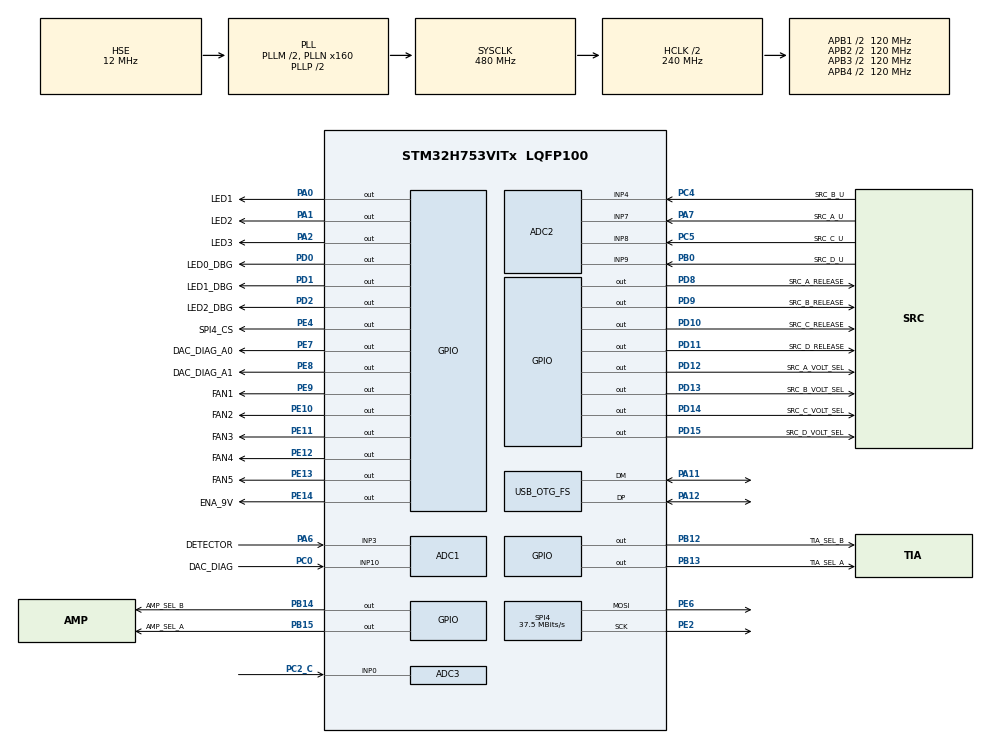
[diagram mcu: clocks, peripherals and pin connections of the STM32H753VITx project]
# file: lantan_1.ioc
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ADC1.Channel-0\#ChannelRegularConversion=ADC_CHANNEL_10
ADC1.ConversionDataManagement=ADC_CONVERSIONDATA_DMA_ONESHOT
ADC1.EOCSelection=ADC_EOC_SEQ_CONV
ADC1.ExternalTrigConv=ADC_EXTERNALTRIG_T6_TRGO
ADC1.NbrOfConversionFlag=1
ADC1.OffsetNumber-0\#ChannelRegularConversion=ADC_OFFSET_NONE
ADC1.OffsetSignedSaturation-0\#ChannelRegularConversion=DISABLE
ADC1.Rank-0\#ChannelRegularConversion=1
ADC1.SamplingTime-0\#ChannelRegularConversion=ADC_SAMPLETIME_1CYCLE_5
ADC1.master=1
ADC2.Channel-0\#ChannelRegularConversion=ADC_CHANNEL_7
ADC2.NbrOfConversionFlag=1
ADC2.OffsetNumber-0\#ChannelRegularConversion=ADC_OFFSET_NONE
ADC2.OffsetSignedSaturation-0\#ChannelRegularConversion=DISABLE
ADC2.Rank-0\#ChannelRegularConversion=1
ADC2.SamplingTime-0\#ChannelRegularConversion=ADC_SAMPLETIME_1CYCLE_5
ADC3.Channel-0\#ChannelRegularConversion=ADC_CHANNEL_0
ADC3.NbrOfConversionFlag=1
ADC3.OffsetNumber-0\#ChannelRegularConversion=ADC_OFFSET_NONE
ADC3.OffsetSignedSaturation-0\#ChannelRegularConversion=DISABLE
ADC3.Rank-0\#ChannelRegularConversion=1
ADC3.SamplingTime-0\#ChannelRegularConversion=ADC_SAMPLETIME_1CYCLE_5
CORTEX_M7.CPU_DCache=Enabled
CORTEX_M7.CPU_ICache=Enabled
CORTEX_M7.MPU_Control=__NULL
CORTEX_M7.default_mode_Activation=1
Dma.ADC1.0.Direction=DMA_PERIPH_TO_MEMORY
Dma.ADC1.0.EventEnable=DISABLE
Dma.ADC1.0.FIFOMode=DMA_FIFOMODE_DISABLE
Dma.ADC1.0.Instance=DMA1_Stream0
Dma.ADC1.0.MemDataAlignment=DMA_MDATAALIGN_WORD
Dma.ADC1.0.MemInc=DMA_MINC_ENABLE
Dma.ADC1.0.Mode=DMA_NORMAL
Dma.ADC1.0.PeriphDataAlignment=DMA_PDATAALIGN_WORD
Dma.ADC1.0.PeriphInc=DMA_PINC_DISABLE
Dma.ADC1.0.Polarity=HAL_DMAMUX_REQ_GEN_RISING
Dma.ADC1.0.Priority=DMA_PRIORITY_LOW
Dma.ADC1.0.RequestNumber=1
Dma.ADC1.0.SignalID=NONE
Dma.ADC1.0.SyncEnable=DISABLE
Dma.ADC1.0.SyncPolarity=HAL_DMAMUX_SYNC_NO_EVENT
Dma.ADC1.0.SyncRequestNumber=1
Dma.ADC1.0.SyncSignalID=NONE
Dma.Request0=ADC1
FREERTOS.Tasks01=defaultTask,24,1024,StartDefaultTask,Default,NULL,Dynamic,NULL,NULL
FREERTOS.configENABLE_FPU=1
FREERTOS.configMAX_TASK_NAME_LEN=32
FREERTOS.configMINIMAL_STACK_SIZE=1024
FREERTOS.configTOTAL_HEAP_SIZE=200000
Mcu.Family=STM32H7
Mcu.Name=STM32H753VITx
Mcu.Package=LQFP100
NVIC.ADC_IRQn=true\:6\:0\:true\:false\:true\:true\:true\:true\:true
NVIC.DMA1_Stream0_IRQn=true\:6\:0\:true\:false\:true\:true\:false\:true\:true
NVIC.OTG_FS_IRQn=true\:6\:0\:true\:false\:true\:true\:false\:true\:true
NVIC.PriorityGroup=NVIC_PRIORITYGROUP_4
NVIC.SPI4_IRQn=true\:6\:0\:true\:false\:true\:true\:true\:true\:true
NVIC.TIM1_UP_IRQn=true\:15\:0\:false\:false\:true\:false\:false\:true\:true
NVIC.TIM6_DAC_IRQn=true\:5\:0\:false\:false\:true\:true\:true\:true\:true
NVIC.TIM7_IRQn=true\:5\:0\:false\:false\:true\:true\:true\:true\:true
NVIC.TimeBase=TIM1_UP_IRQn
NVIC.TimeBaseIP=TIM1
PA0.GPIO_Label=LED1
PA0.Signal=GPIO_Output
PA1.GPIO_Label=LED2
PA1.Signal=GPIO_Output
PA11.Mode=Device_Only
PA11.Signal=USB_OTG_FS_DM
PA12.Mode=Device_Only
PA12.Signal=USB_OTG_FS_DP
PA13\ (JTMS/SWDIO).Mode=Trace_Asynchronous_SW
PA13\ (JTMS/SWDIO).Signal=DEBUG_JTMS-SWDIO
PA14\ (JTCK/SWCLK).Mode=Trace_Asynchronous_SW
PA14\ (JTCK/SWCLK).Signal=DEBUG_JTCK-SWCLK
PA2.GPIO_Label=LED3
PA2.Signal=GPIO_Output
PA6.GPIO_Label=DETECTOR
PA6.Signal=ADCx_INP3
PA7.GPIO_Label=SRC_A_U
PA7.Signal=ADCx_INP7
PB0.GPIO_Label=SRC_D_U
PB0.Signal=ADCx_INP9
PB12.GPIO_Label=TIA_SEL_B
PB12.Signal=GPIO_Output
PB13.GPIO_Label=TIA_SEL_A
PB13.Signal=GPIO_Output
PB14.GPIO_Label=AMP_SEL_B
PB14.Signal=GPIO_Output
PB15.GPIO_Label=AMP_SEL_A
PB15.Signal=GPIO_Output
PB3\ (JTDO/TRACESWO).Mode=Trace_Asynchronous_SW
PB3\ (JTDO/TRACESWO).Signal=DEBUG_JTDO-SWO
PC0.GPIO_Label=DAC_DIAG
PC0.Signal=ADCx_INP10
PC2_C.Mode=IN0-Single-Ended
PC2_C.Signal=ADC3_INP0
PC4.GPIO_Label=SRC_B_U
PC4.Signal=ADCx_INP4
PC5.GPIO_Label=SRC_C_U
PC5.Signal=ADCx_INP8
PD0.GPIO_Label=LED0_DBG
PD0.Signal=GPIO_Output
PD1.GPIO_Label=LED1_DBG
PD1.Signal=GPIO_Output
PD10.GPIO_Label=SRC_C_RELEASE
PD10.Signal=GPIO_Output
PD11.GPIO_Label=SRC_D_RELEASE
PD11.Signal=GPIO_Output
PD12.GPIO_Label=SRC_A_VOLT_SEL
PD12.Signal=GPIO_Output
PD13.GPIO_Label=SRC_B_VOLT_SEL
PD13.Signal=GPIO_Output
PD14.GPIO_Label=SRC_C_VOLT_SEL
PD14.Signal=GPIO_Output
PD15.GPIO_Label=SRC_D_VOLT_SEL
PD15.Signal=GPIO_Output
PD2.GPIO_Label=LED2_DBG
PD2.Signal=GPIO_Output
PD8.GPIO_Label=SRC_A_RELEASE
PD8.Signal=GPIO_Output
PD9.GPIO_Label=SRC_B_RELEASE
PD9.Signal=GPIO_Output
PE10.GPIO_Label=FAN2
PE10.Signal=GPIO_Output
PE11.GPIO_Label=FAN3
PE11.Signal=GPIO_Output
PE12.GPIO_Label=FAN4
PE12.Signal=GPIO_Output
PE13.GPIO_Label=FAN5
PE13.Signal=GPIO_Output
PE14.GPIO_Label=ENA_9V
PE14.Signal=GPIO_Output
PE2.Mode=TX_Only_Simplex_Unidirect_Master
PE2.Signal=SPI4_SCK
PE4.GPIO_Label=SPI4_CS
PE4.Signal=GPIO_Output
PE6.Mode=TX_Only_Simplex_Unidirect_Master
PE6.Signal=SPI4_MOSI
PE7.GPIO_Label=DAC_DIAG_A0
PE7.Signal=GPIO_Output
PE8.GPIO_Label=DAC_DIAG_A1
PE8.Signal=GPIO_Output
PE9.GPIO_Label=FAN1
PE9.Signal=GPIO_Output
PH0-OSC_IN\ (PH0).Mode=HSE-External-Oscillator
PH0-OSC_IN\ (PH0).Signal=RCC_OSC_IN
PH1-OSC_OUT\ (PH1).Mode=HSE-External-Oscillator
PH1-OSC_OUT\ (PH1).Signal=RCC_OSC_OUT
ProjectManager.HeapSize=0x200
ProjectManager.StackSize=0x400
ProjectManager.TargetToolchain=CMake
RCC.ADCFreq_Value=75000000
RCC.APB1Freq_Value=120000000
RCC.APB2Freq_Value=120000000
RCC.APB3Freq_Value=120000000
RCC.APB4Freq_Value=120000000
RCC.CortexFreq_Value=480000000
RCC.D1PPRE=RCC_APB3_DIV2
RCC.D2PPRE1=RCC_APB1_DIV2
RCC.D2PPRE2=RCC_APB2_DIV2
RCC.D3PPRE=RCC_APB4_DIV2
RCC.DIVM1=2
RCC.DIVM2=6
RCC.DIVN1=160
RCC.DIVN2=75
RCC.HCLKFreq_Value=240000000
RCC.HPRE=RCC_HCLK_DIV2
RCC.HSE_VALUE=12000000
RCC.PLLSourceVirtual=RCC_PLLSOURCE_HSE
RCC.SYSCLKFreq_VALUE=480000000
RCC.SYSCLKSource=RCC_SYSCLKSOURCE_PLLCLK
RCC.Spi45ClockSelection=RCC_SPI45CLKSOURCE_PLL2
RCC.USBCLockSelection=RCC_USBCLKSOURCE_HSI48
RCC.USBFreq_Value=48000000
SH.ADCx_INP10.0=ADC1_INP10,IN10-Single-Ended
SH.ADCx_INP3.0=ADC1_INP3,IN3-Single-Ended
SH.ADCx_INP4.0=ADC2_INP4,IN4-Single-Ended
SH.ADCx_INP7.0=ADC2_INP7,IN7-Single-Ended
SH.ADCx_INP8.0=ADC2_INP8,IN8-Single-Ended
SH.ADCx_INP9.0=ADC2_INP9,IN9-Single-Ended
SPI4.BaudRatePrescaler=SPI_BAUDRATEPRESCALER_2
SPI4.CLKPhase=SPI_PHASE_1EDGE
SPI4.CLKPolarity=SPI_POLARITY_HIGH
SPI4.CalculateBaudRate=37.5 MBits/s
SPI4.DataSize=SPI_DATASIZE_8BIT
SPI4.Direction=SPI_DIRECTION_2LINES_TXONLY
SPI4.Mode=SPI_MODE_MASTER
SPI4.VirtualType=VM_MASTER
TIM6.TIM_MasterOutputTrigger=TIM_TRGO_UPDATE
TIM7.TIM_MasterOutputTrigger=TIM_TRGO_ENABLE
USB_DEVICE.CLASS_NAME_FS=CDC
USB_DEVICE.MANUFACTURER_STRING-CDC_FS=WUST
USB_DEVICE.PID_CDC_FS=47183
USB_DEVICE.PRODUCT_STRING_CDC_FS=Lantan1
USB_DEVICE.VID-CDC_FS=61525
USB_DEVICE.VirtualMode-CDC_FS=Cdc
USB_DEVICE.VirtualModeFS=Cdc_FS
USB_OTG_FS.VirtualMode=Device_Only
VP_FREERTOS_VS_CMSIS_V2.Mode=CMSIS_V2
VP_MEMORYMAP_VS_MEMORYMAP.Mode=CurAppReg
VP_SYS_VS_tim1.Mode=TIM1
VP_TIM6_VS_ClockSourceINT.Mode=Enable_Timer
VP_TIM7_VS_ClockSourceINT.Mode=Enable_Timer
VP_USB_DEVICE_VS_USB_DEVICE_CDC_FS.Mode=CDC_FS
board=custom

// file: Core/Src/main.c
/* USER CODE BEGIN Header */
/**
  ******************************************************************************
  * @file           : main.c
  * @brief          : Main program body
  ******************************************************************************
  * @attention
  *
  * Copyright (c) 2026 STMicroelectronics.
  * All rights reserved.
  *
  * This software is licensed under terms that can be found in the LICENSE file
  * in the root directory of this software component.
  * If no LICENSE file comes with this software, it is provided AS-IS.
  *
  ******************************************************************************
  */
/* USER CODE END Header */
#include "main.h"
#include "FreeRTOS.h"
#include "cmsis_os2.h"
#include "adc.h"
#include "dma.h"
#include "spi.h"
#include "tim.h"
#include "usb_device.h"
#include "gpio.h"

/* USER CODE BEGIN Includes */
#include "lantan_ll.h"
#include "task_comm.h"
#include "task_cmd_exec.h"
#include "task_update.h"
#include "lantan_synth.h"

#include "FreeRTOS.h"
#include "task.h"
#include "queue.h"
#include "semphr.h"

#include "stm32h7xx_hal_adc.h"
/* USER CODE END Includes */

/* USER CODE BEGIN PV */
// move the heap into a larger
uint8_t ucHeap[configTOTAL_HEAP_SIZE] __attribute__((section(".freertos_heap")));

// uint8_t ucHeap[ configTOTAL_HEAP_SIZE ];
/* USER CODE END PV */

void SystemClock_Config(void);
void PeriphCommonClock_Config(void);
void MX_FREERTOS_Init(void);

int main(void)
{

  /* Enable the CPU Cache */

  /* Enable I-Cache---------------------------------------------------------*/
  SCB_EnableICache();

  /* Enable D-Cache---------------------------------------------------------*/
  SCB_EnableDCache();

  /* MCU Configuration--------------------------------------------------------*/

  /* Reset of all peripherals, Initializes the Flash interface and the Systick. */
  HAL_Init();

  /* Configure the system clock */
  SystemClock_Config();

  /* Configure the peripherals common clocks */
  PeriphCommonClock_Config();

  /* Initialize all configured peripherals */
  MX_GPIO_Init();
  MX_DMA_Init();
  MX_SPI4_Init();
  MX_TIM7_Init();
  MX_ADC1_Init();
  MX_ADC2_Init();
  MX_TIM6_Init();
  MX_ADC3_Init();
  /* USER CODE BEGIN 2 */
  vLL_LockLEDs(0); // unlock leds

  static TaskHandle_t vCommMainTaskHandle;
  static TaskHandle_t vCmdExecTaskHandle;
  static TaskHandle_t vUpdateTaskHandle;

  xTaskCreate(vComm_MainTask, "commMain", 2048, NULL, 2, &vCommMainTaskHandle);
  xTaskCreate(vCmd_MainTask, "cmdExec", 2048, NULL, 1, &vCmdExecTaskHandle);
  xTaskCreate(vUpdate_MainTask, "update", 2048, NULL, 1, &vUpdateTaskHandle);

  vTaskStartScheduler();
  /* USER CODE END 2 */

  /* Init scheduler */
  osKernelInitialize();  /* Call init function for freertos objects (in cmsis_os2.c) */
  MX_FREERTOS_Init();

  /* Start scheduler */
  osKernelStart();

  /* We should never get here as control is now taken by the scheduler */

  /* Infinite loop */
  while (1)
  {

  }
}

void SystemClock_Config(void)
{
  RCC_OscInitTypeDef RCC_OscInitStruct = {0};
  RCC_ClkInitTypeDef RCC_ClkInitStruct = {0};

  /** Supply configuration update enable
  */
  HAL_PWREx_ConfigSupply(PWR_LDO_SUPPLY);

  /** Configure the main internal regulator output voltage
  */
  __HAL_PWR_VOLTAGESCALING_CONFIG(PWR_REGULATOR_VOLTAGE_SCALE0);

  while(!__HAL_PWR_GET_FLAG(PWR_FLAG_VOSRDY)) {}

  /** Initializes the RCC Oscillators according to the specified parameters
  * in the RCC_OscInitTypeDef structure.
  */
  RCC_OscInitStruct.OscillatorType = RCC_OSCILLATORTYPE_HSI48|RCC_OSCILLATORTYPE_HSE;
  RCC_OscInitStruct.HSEState = RCC_HSE_ON;
  RCC_OscInitStruct.HSI48State = RCC_HSI48_ON;
  RCC_OscInitStruct.PLL.PLLState = RCC_PLL_ON;
  RCC_OscInitStruct.PLL.PLLSource = RCC_PLLSOURCE_HSE;
  RCC_OscInitStruct.PLL.PLLM = 2;
  RCC_OscInitStruct.PLL.PLLN = 160;
  RCC_OscInitStruct.PLL.PLLP = 2;
  RCC_OscInitStruct.PLL.PLLQ = 2;
  RCC_OscInitStruct.PLL.PLLR = 2;
  RCC_OscInitStruct.PLL.PLLRGE = RCC_PLL1VCIRANGE_2;
  RCC_OscInitStruct.PLL.PLLVCOSEL = RCC_PLL1VCOWIDE;
  RCC_OscInitStruct.PLL.PLLFRACN = 0;
  if (HAL_RCC_OscConfig(&RCC_OscInitStruct) != HAL_OK)
  {
    Error_Handler();
  }

  /** Initializes the CPU, AHB and APB buses clocks
  */
  RCC_ClkInitStruct.ClockType = RCC_CLOCKTYPE_HCLK|RCC_CLOCKTYPE_SYSCLK
                              |RCC_CLOCKTYPE_PCLK1|RCC_CLOCKTYPE_PCLK2
                              |RCC_CLOCKTYPE_D3PCLK1|RCC_CLOCKTYPE_D1PCLK1;
  RCC_ClkInitStruct.SYSCLKSource = RCC_SYSCLKSOURCE_PLLCLK;
  RCC_ClkInitStruct.SYSCLKDivider = RCC_SYSCLK_DIV1;
  RCC_ClkInitStruct.AHBCLKDivider = RCC_HCLK_DIV2;
  RCC_ClkInitStruct.APB3CLKDivider = RCC_APB3_DIV2;
  RCC_ClkInitStruct.APB1CLKDivider = RCC_APB1_DIV2;
  RCC_ClkInitStruct.APB2CLKDivider = RCC_APB2_DIV2;
  RCC_ClkInitStruct.APB4CLKDivider = RCC_APB4_DIV2;

  if (HAL_RCC_ClockConfig(&RCC_ClkInitStruct, FLASH_LATENCY_4) != HAL_OK)
  {
    Error_Handler();
  }
}

void PeriphCommonClock_Config(void)
{
  RCC_PeriphCLKInitTypeDef PeriphClkInitStruct = {0};

  /** Initializes the peripherals clock
  */
  PeriphClkInitStruct.PeriphClockSelection = RCC_PERIPHCLK_ADC|RCC_PERIPHCLK_SPI4;
  PeriphClkInitStruct.PLL2.PLL2M = 6;
  PeriphClkInitStruct.PLL2.PLL2N = 75;
  PeriphClkInitStruct.PLL2.PLL2P = 2;
  PeriphClkInitStruct.PLL2.PLL2Q = 2;
  PeriphClkInitStruct.PLL2.PLL2R = 2;
  PeriphClkInitStruct.PLL2.PLL2RGE = RCC_PLL2VCIRANGE_1;
  PeriphClkInitStruct.PLL2.PLL2VCOSEL = RCC_PLL2VCOMEDIUM;
  PeriphClkInitStruct.PLL2.PLL2FRACN = 0;
  PeriphClkInitStruct.Spi45ClockSelection = RCC_SPI45CLKSOURCE_PLL2;
  PeriphClkInitStruct.AdcClockSelection = RCC_ADCCLKSOURCE_PLL2;
  if (HAL_RCCEx_PeriphCLKConfig(&PeriphClkInitStruct) != HAL_OK)
  {
    Error_Handler();
  }
}

void HAL_TIM_PeriodElapsedCallback(TIM_HandleTypeDef *htim)
{
  if (htim->Instance == TIM1)
  {
    HAL_IncTick();
  }
  /* USER CODE BEGIN Callback 1 */
  else if (htim->Instance == TIM7)
  {
    vSynth_SynthTimerCallback();
  }
  /* USER CODE END Callback 1 */
}

void Error_Handler(void)
{
  __disable_irq();
  while (1)
  {
  }
}

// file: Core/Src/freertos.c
/* USER CODE BEGIN Header */
/**
  ******************************************************************************
  * File Name          : freertos.c
  * Description        : Code for freertos applications
  ******************************************************************************
  * @attention
  *
  * Copyright (c) 2026 STMicroelectronics.
  * All rights reserved.
  *
  * This software is licensed under terms that can be found in the LICENSE file
  * in the root directory of this software component.
  * If no LICENSE file comes with this software, it is provided AS-IS.
  *
  ******************************************************************************
  */
/* USER CODE END Header */

#include "FreeRTOS.h"
#include "task.h"
#include "main.h"
#include "FreeRTOS.h"
#include "cmsis_os2.h"

/* Definitions for defaultTask */
osThreadId_t defaultTaskHandle;
const osThreadAttr_t defaultTask_attributes = {
  .name = "defaultTask",
  .stack_size = 1024 * 4,
  .priority = (osPriority_t) osPriorityNormal,
};

void StartDefaultTask(void *argument);

extern void MX_USB_DEVICE_Init(void);
void MX_FREERTOS_Init(void); /* (MISRA C 2004 rule 8.1) */

void MX_FREERTOS_Init(void) {

  /* Create the thread(s) */
  /* creation of defaultTask */
  defaultTaskHandle = osThreadNew(StartDefaultTask, NULL, &defaultTask_attributes);

}

void StartDefaultTask(void *argument)
{
  /* init code for USB_DEVICE */
  MX_USB_DEVICE_Init();
  for(;;)
  {
    osDelay(1);
  }
}
